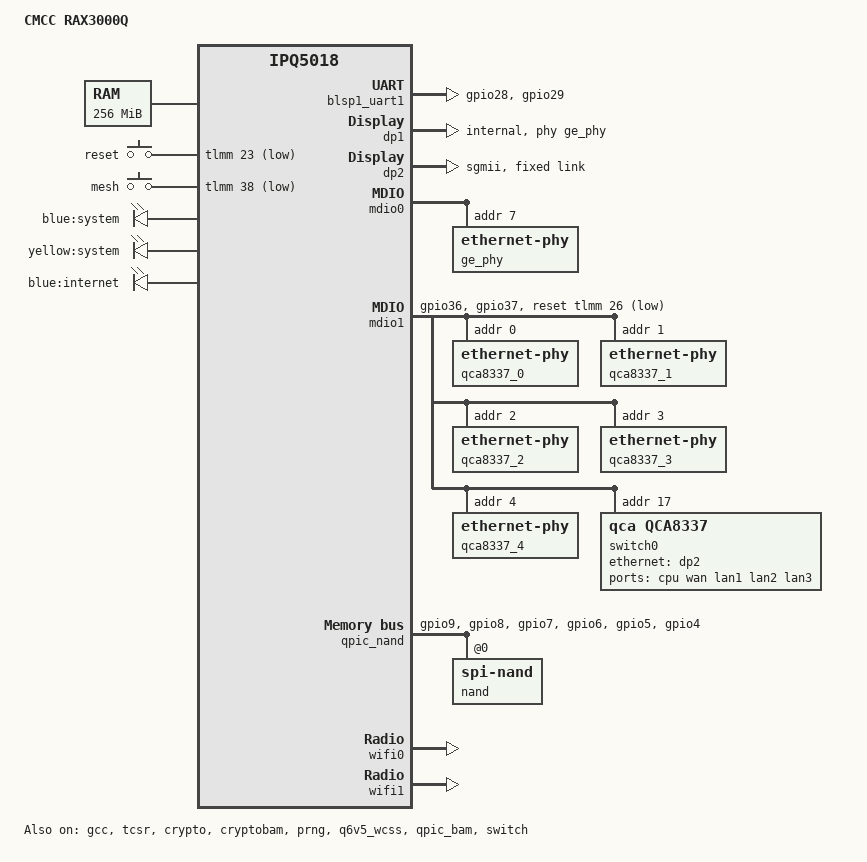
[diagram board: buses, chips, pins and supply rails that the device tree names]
// SPDX-License-Identifier: (GPL-2.0+)

/dts-v1/;
#include "ipq5018.dtsi"
#include "ipq5018-ess.dtsi"
#include <dt-bindings/gpio/gpio.h>
#include <dt-bindings/input/input.h>

/ {
	#address-cells = <0x2>;
	#size-cells = <0x2>;
	model = "CMCC RAX3000Q";
	compatible = "cmcc,rax3000q", "qcom,ipq5018";
	interrupt-parent = <&intc>;

	aliases {
		ethernet0 = &dp1;
		ethernet1 = &dp2;
		label-mac-device = &dp2;
		serial0 = &blsp1_uart1;
		led-boot = &led_status_green;
		led-failsafe = &led_status_red;
		led-running = &led_status_green;
		led-upgrade = &led_status_blue;
	};

	chosen {
		stdout-path = "serial0:115200n8";
		// 关键修复：添加earlycon和console参数
		bootargs-append = " root=/dev/ubiblock0_1 coherent_pool=2M console=ttyMSM0,115200n8 earlycon=msm_serial_dm,0x78af000";
	};

	// 关键修复：添加内存节点
	memory@40000000 {
		device_type = "memory";
		reg = <0x0 0x40000000 0x0 0x10000000>; // 256MB
	};

	keys {
		compatible = "gpio-keys";
		pinctrl-0 = <&button_pins>;
		pinctrl-names = "default";

		reset {
			label = "reset";
			linux,code = <KEY_RESTART>;
			gpios = <&tlmm 23 GPIO_ACTIVE_LOW>;
			debounce-interval = <60>;
		};

		mesh {
			label = "mesh";
			linux,code = <KEY_WPS_BUTTON>;
			gpios = <&tlmm 38 GPIO_ACTIVE_LOW>;
			debounce-interval = <60>;
		};
	};

	leds {
		compatible = "gpio-leds";
		pinctrl-0 = <&leds_pins>;
		pinctrl-names = "default";

		led_status_red: led_status_red {
			label = "blue:system";
			gpio = <&tlmm 24 GPIO_ACTIVE_HIGH>;
			default-state = "on";
		};

		led_status_green: led_status_green {
			label = "yellow:system";
			gpio = <&tlmm 19 GPIO_ACTIVE_HIGH>;
		};

		led_status_blue: led_status_blue {
			label = "blue:internet";
			gpio = <&tlmm 17 GPIO_ACTIVE_HIGH>;
		};
	};

	reserved-memory {
		tz_apps@4a400000 {
			no-map;
			reg = <0x0 0x4a400000 0x0 0x700000>;
		};

		q6_mem_regions: q6_mem_regions@4b000000 {
			no-map;
			reg = <0x0 0x4b000000 0x0 0x3000000>;
		};
	};

	thermal-zones {
		status = "ok";
	};
};

&sleep_clk {
	clock-frequency = <32000>;
};

&xo_board_clk {
	clock-frequency = <24000000>;
};

// 关键修复：确保GCC和TCSR启用
&gcc {
	status = "okay";
};

&tcsr {
	status = "okay";
};

&blsp1_uart1 {
	pinctrl-0 = <&blsp_uart0_pins>;
	pinctrl-names = "default";
	status = "ok";
};

&crypto {
	status = "okay";
};

&cryptobam {
	status = "okay";
};

&dp1 {
	status = "okay";
	phy-handle = <&ge_phy>;
	phy-mode = "internal";
};

&dp2 {
	phy-mode = "sgmii";
	status = "okay";

	fixed-link {
		speed = <1000>;
		full-duplex;
	};
};

&ge_phy {
	status = "okay";
};

&mdio0 {
	status = "okay";

	resets = <&gcc GCC_GEPHY_MDC_SW_ARES>;
	reset-names = "phy";

	ge_phy: ethernet-phy@7 {
		reg = <7>;
	};
};

&mdio1 {
	pinctrl-0 = <&mdio1_pins>;
	pinctrl-names = "default";
	reset-gpios = <&tlmm 26 GPIO_ACTIVE_LOW>;
	status = "okay";

	// QCA8337 Phy0 -> WAN
	qca8337_0: ethernet-phy@0 {
		reg = <0>;
	};
	// QCA8337 Phy1 -> LAN1
	qca8337_1: ethernet-phy@1 {
		reg = <1>;
	};
	// QCA8337 Phy2 -> IPQ5018 GE Phy
	qca8337_2: ethernet-phy@2 {
		reg = <2>;
	};
	// QCA8337 Phy3 -> LAN2
	qca8337_3: ethernet-phy@3 {
		reg = <3>;
	};
	// QCA8337 Phy4 -> LAN3
	qca8337_4: ethernet-phy@4 {
		reg = <4>;
	};
	// QCA8337 switch
	switch0: ethernet-switch@17 {
		compatible = "qca,qca8337";
		reg = <17>;
		#address-cells = <1>;
		#size-cells = <0>;
		switch_cpu_bmp = <0x48>;  // CPU port bitmap: 3 6
		switch_lan_bmp = <0x34>;  // LAN port bitmap: 2 4 5
		switch_wan_bmp = <0x02>;  // WAN port bitmap: 1

		ports {
			#address-cells = <1>;
			#size-cells = <0>;

			switch0cpu: port@0 {
				reg = <0>;
				label = "cpu";
				phy-mode = "sgmii";
				ethernet = <&dp2>;
				qca,sgmii-enable-pll;
				fixed-link {
					speed = <1000>;
					full-duplex;
				};
			};
			// QCA8337 Phy0 -> WAN
			port@1 {
				reg = <1>;
				label = "wan";
				phy-handle = <&qca8337_0>;
				port_id = <1>;
				phy_address = <0>;
			};

			// QCA8337 Phy1 -> LAN1
			port@2 {
				reg = <2>;
				label = "lan1";
				phy-handle = <&qca8337_1>;
				port_id = <2>;
				phy_address = <1>;
			};
			// QCA8337 Phy3 -> LAN2
			port@3 {
				reg = <3>;
				label = "lan2";
				phy-handle = <&qca8337_2>;
				port_id = <3>;
				phy_address = <2>;
			};
			// QCA8337 Phy4 -> LAN3
			port@5 {
				reg = <5>;
				label = "lan3";
				phy-handle = <&qca8337_4>;
				port_id = <5>;
				phy_address = <4>;
			};
		};
	};
};

&prng {
	status = "okay";
};

&q6v5_wcss {
	status = "okay";
	memory-region = <&q6_mem_regions>;
	firmware-name = "ath11k/IPQ5018/hw1.0/q6_fw.mdt",
					"ath11k/IPQ5018/hw1.0/m3_fw.mdt",
					"ath11k/qcn6122/hw1.0/m3_fw.mdt";

	boot-args =
			</*       type: */ 0x2 /* PCIE1 */
		     /*     length: */ 4
		     /*      PD id: */ 2
		     /* reset GPIO: */ 27
		     /*   reserved: */ 0 0>;

	// IPQ5018
	q6_wcss_pd1: pd-1 {
		firmware-name = "ath11k/IPQ5018/hw1.0/q6_fw.mdt";
		resets =
			<&gcc GCC_WCSSAON_RESET>,
			<&gcc GCC_WCSS_BCR>,
			<&gcc GCC_CE_BCR>;
		reset-names =
			"wcss_aon_reset",
			"wcss_reset",
			"ce_reset";
		clocks =
			<&gcc GCC_WCSS_AHB_S_CLK>,
			<&gcc GCC_WCSS_ACMT_CLK>,
			<&gcc GCC_WCSS_AXI_M_CLK>;
		clock-names =
			"gcc_wcss_ahb_s_clk",
			"gcc_wcss_acmt_clk",
			"gcc_wcss_axi_m_clk";

		interrupts-extended =
			<&wcss_smp2p_in 8 0>,
			<&wcss_smp2p_in 9 0>,
			<&wcss_smp2p_in 12 0>,
			<&wcss_smp2p_in 11 0>;
		interrupt-names =
			"fatal",
			"ready",
			"spawn-ack",
			"stop-ack";
		qcom,smem-states =
			<&wcss_smp2p_out 8>,
			<&wcss_smp2p_out 9>,
			<&wcss_smp2p_out 10>;
		qcom,smem-state-names =
			"shutdown",
			"stop",
			"spawn";
	};

	// QCN6102 5G
	q6_wcss_pd2: pd-2 {
		firmware-name = "ath11k/IPQ5018/hw1.0/q6_fw.mdt";
		interrupts-extended =
			<&wcss_smp2p_in 16 0>,
			<&wcss_smp2p_in 17 0>,
			<&wcss_smp2p_in 20 0>,
			<&wcss_smp2p_in 19 0>;
		interrupt-names =
			"fatal",
			"ready",
			"spawn-ack",
			"stop-ack";
		qcom,smem-states =
			<&wcss_smp2p_out 16>,
			<&wcss_smp2p_out 17>,
			<&wcss_smp2p_out 18>;
		qcom,smem-state-names =
			"shutdown",
			"stop",
			"spawn";
	};
};

&qpic_bam {
	status = "okay";
};

&qpic_nand {  
    pinctrl-0 = <&qspi_nand_pins>;
    pinctrl-names = "default";
    status = "okay";

    nand@0 {
        compatible = "spi-nand";
        #address-cells = <1>;
        #size-cells = <1>;
        reg = <0>;

        nand-ecc-engine = <&qpic_nand>; 
        nand-ecc-strength = <4>;
        nand-ecc-step-size = <512>;
        nand-bus-width = <8>;

        partitions {
            compatible = "qcom,smem-part";
        };
    };
};

&switch {
	switch_mac_mode = <MAC_MODE_SGMII_CHANNEL0>;
	status = "okay";

	qcom,port_phyinfo {
		// MAC0 -> GE Phy -> QCA8337 Phy2
		port@0 {
			port_id = <1>;
			mdiobus = <&mdio0>;
			phy_address = <7>;
			phy_dac = <0x10 0x10>;
		};
		// MAC1 ---SGMII---> QCA8337 SerDes
		port@1 {
			port_id = <2>;
			forced-speed = <1000>;
			forced-duplex = <1>;
		};
	};
};

&tlmm {
	blsp_uart0_pins: blsp_uart0_pins {
		pins =
			"gpio28", // RX
			"gpio29"; // TX
		function = "blsp0_uart1";
		drive-strength = <8>;
		bias-disable;
	};

	button_pins: button_pins {
		button_reset {
			pins = "gpio23";
			function = "gpio";
			drive-strength = <8>;
			bias-pull-up;
		};

		button_mesh {
			pins = "gpio38";
			function = "gpio";
			drive-strength = <8>;
			bias-pull-up;
		};
	};

	leds_pins: leds_pins {
		led_status_red {
			pins = "gpio24";
			function = "gpio";
			drive-strength = <8>;
			bias-pull-down;
		};

		led_status_green {
			pins = "gpio19";
			function = "gpio";
			drive-strength = <8>;
			bias-pull-down;
		};

		led_status_blue {
			pins = "gpio17";
			function = "gpio";
			drive-strength = <8>;
			bias-pull-down;
		};
	};

	mdio1_pins: mdio1_pins {
		mdc {
			pins = "gpio36";
			function = "mdc";
			drive-strength = <8>;
			bias-pull-up;
		};

		mdio {
			pins = "gpio37";
			function = "mdio";
			drive-strength = <8>;
			bias-pull-up;
		};
	};

	qspi_nand_pins: qspi_nand_pins {
		clock {
			pins = "gpio9";
			function = "qspi_clk";
			drive-strength = <8>;
			bias-disable;
		};

		cs {
			pins = "gpio8";
			function = "qspi_cs";
			drive-strength = <8>;
			bias-disable;
		};

		data0 {
			pins = "gpio7";
			function = "qspi0";
			drive-strength = <8>;
			bias-disable;
		};

		data1 {
			pins = "gpio6";
			function = "qspi1";
			drive-strength = <8>;
			bias-disable;
		};

		data2 {
			pins = "gpio5";
			function = "qspi2";
			drive-strength = <8>;
			bias-disable;
		};

		data3 {
			pins = "gpio4";
			function = "qspi3";
			drive-strength = <8>;
			bias-disable;
		};
	};
};

&wifi0 {
	qcom,multipd_arch;
	qcom,rproc = <&q6_wcss_pd1>;
	qcom,userpd-subsys-name = "q6v5_wcss_userpd1";
	qcom,ath11k-calibration-variant = "CMCC-RAX3000Q";
	qcom,ath11k-fw-memory-mode = <2>;
	qcom,bdf-addr = <0x4c400000>;
	qcom,board_id = <0x24>;
	status = "okay";
};

&wifi1 {
	qcom,multipd_arch;
	qcom,rproc = <&q6_wcss_pd2>;
	qcom,userpd-subsys-name = "q6v5_wcss_userpd2";
	qcom,ath11k-calibration-variant = "CMCC-RAX3000Q";
	qcom,ath11k-fw-memory-mode = <2>;
	qcom,bdf-addr = <0x4d100000>;
	qcom,m3-dump-addr = <0x4df00000>;
	qcom,board_id = <0x60>;
	status = "okay";
};
